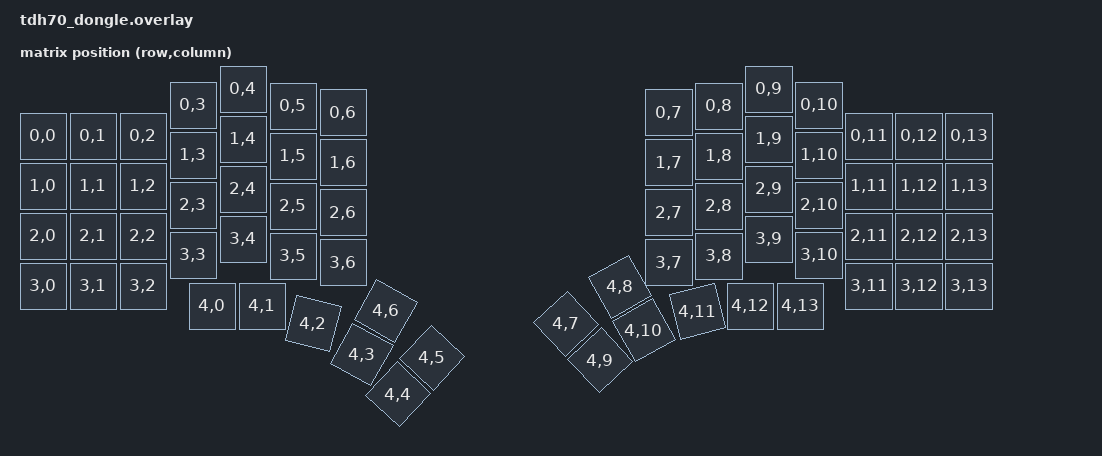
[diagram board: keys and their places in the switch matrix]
#include <dt-bindings/zmk/matrix_transform.h>
#include <physical_layouts.dtsi>

/ {
    chosen {
        zmk,kscan = &mock_kscan;
        // The dongle is the ZMK Studio endpoint (central), so it must use the
        // physical-layout scheme: a zmk,physical-layout chosen (no
        // zmk,matrix-transform chosen) with the same 70 key positions as the
        // halves, so Studio shows/edits the full split keymap.
        zmk,physical-layout = &physical_layout0;
    };

    default_transform: keymap_transform_0 {
        compatible = "zmk,matrix-transform";
        columns = <16>;
        rows = <5>;
// | SW6  | SW5  | SW4  | SW3  | SW2  | SW1  |                 | SW1  | SW2  | SW3  | SW4  | SW5  | SW6  |
// | SW12 | SW11 | SW10 | SW9  | SW8  | SW7  |                 | SW7  | SW8  | SW9  | SW10 | SW11 | SW12 |
// | SW18 | SW17 | SW16 | SW15 | SW14 | SW13 |                 | SW13 | SW14 | SW15 | SW16 | SW17 | SW18 |
// | SW24 | SW23 | SW22 | SW21 | SW20 | SW19 | SW25 |   | SW25 | SW19 | SW20 | SW21 | SW22 | SW23 | SW24 |
//               | SW30 | SW29 | SW28 | SW27 | SW26 |   | SW26 | SW27 | SW28 | SW29 | SW30 |
        map = <
RC(0,0) RC(0,1) RC(0,2) RC(0,3) RC(0,4) RC(0,5) RC(0,6)                                        RC(0,7) RC(0,8) RC(0,9)  RC(0,10) RC(0,11) RC(0,12) RC(0,13)
RC(1,0) RC(1,1) RC(1,2) RC(1,3) RC(1,4) RC(1,5) RC(1,6)                                        RC(1,7) RC(1,8) RC(1,9)  RC(1,10) RC(1,11) RC(1,12) RC(1,13)
RC(2,0) RC(2,1) RC(2,2) RC(2,3) RC(2,4) RC(2,5) RC(2,6)                                        RC(2,7) RC(2,8) RC(2,9)  RC(2,10) RC(2,11) RC(2,12) RC(2,13)
RC(3,0) RC(3,1) RC(3,2) RC(3,3) RC(3,4) RC(3,5) RC(3,6) RC(4,6) RC(4,5)        RC(4,8) RC(4,7) RC(3,7) RC(3,8) RC(3,9)  RC(3,10) RC(3,11) RC(3,12) RC(3,13)
                                RC(4,0) RC(4,1) RC(4,2) RC(4,3) RC(4,4)        RC(4,9) RC(4,10) RC(4,11) RC(4,12) RC(4,13)
        >;
    };

    physical_layout0: physical_layout0 {
        compatible = "zmk,physical-layout";
        display-name = "Default Layout";
        transform = <&default_transform>;
        keys  //                     w   h    x    y     rot    rx    ry
            = <&key_physical_attrs 100 100    0   94        0     0    94>
            , <&key_physical_attrs 100 100  100   94        0   100    94>
            , <&key_physical_attrs 100 100  200   94        0   200    94>
            , <&key_physical_attrs 100 100  300   32        0   300    32>
            , <&key_physical_attrs 100 100  400    0        0   400     0>
            , <&key_physical_attrs 100 100  500   34        0   500    34>
            , <&key_physical_attrs 100 100  600   47        0   600    47>
            , <&key_physical_attrs 100 100 1252   47        0  1252    47>
            , <&key_physical_attrs 100 100 1352   34        0  1352    34>
            , <&key_physical_attrs 100 100 1452    0        0  1452     0>
            , <&key_physical_attrs 100 100 1552   32        0  1552    32>
            , <&key_physical_attrs 100 100 1652   94        0  1652    94>
            , <&key_physical_attrs 100 100 1752   94        0  1752    94>
            , <&key_physical_attrs 100 100 1852   94        0  1852    94>
            , <&key_physical_attrs 100 100    0  194        0     0   194>
            , <&key_physical_attrs 100 100  100  194        0   100   194>
            , <&key_physical_attrs 100 100  200  194        0   200   194>
            , <&key_physical_attrs 100 100  300  132        0   300   132>
            , <&key_physical_attrs 100 100  400  100        0   400   100>
            , <&key_physical_attrs 100 100  500  134        0   500   134>
            , <&key_physical_attrs 100 100  600  147        0   600   147>
            , <&key_physical_attrs 100 100 1252  147        0  1252   147>
            , <&key_physical_attrs 100 100 1352  134        0  1352   134>
            , <&key_physical_attrs 100 100 1452  100        0  1452   100>
            , <&key_physical_attrs 100 100 1552  132        0  1552   132>
            , <&key_physical_attrs 100 100 1652  194        0  1652   194>
            , <&key_physical_attrs 100 100 1752  194        0  1752   194>
            , <&key_physical_attrs 100 100 1852  194        0  1852   194>
            , <&key_physical_attrs 100 100    0  294        0     0   294>
            , <&key_physical_attrs 100 100  100  294        0   100   294>
            , <&key_physical_attrs 100 100  200  294        0   200   294>
            , <&key_physical_attrs 100 100  300  232        0   300   232>
            , <&key_physical_attrs 100 100  400  200        0   400   200>
            , <&key_physical_attrs 100 100  500  234        0   500   234>
            , <&key_physical_attrs 100 100  600  247        0   600   247>
            , <&key_physical_attrs 100 100 1252  247        0  1252   247>
            , <&key_physical_attrs 100 100 1352  234        0  1352   234>
            , <&key_physical_attrs 100 100 1452  200        0  1452   200>
            , <&key_physical_attrs 100 100 1552  232        0  1552   232>
            , <&key_physical_attrs 100 100 1652  294        0  1652   294>
            , <&key_physical_attrs 100 100 1752  294        0  1752   294>
            , <&key_physical_attrs 100 100 1852  294        0  1852   294>
            , <&key_physical_attrs 100 100    0  394        0     0   394>
            , <&key_physical_attrs 100 100  100  394        0   100   394>
            , <&key_physical_attrs 100 100  200  394        0   200   394>
            , <&key_physical_attrs 100 100  300  332        0   300   332>
            , <&key_physical_attrs 100 100  400  300        0   400   300>
            , <&key_physical_attrs 100 100  500  334        0   500   334>
            , <&key_physical_attrs 100 100  600  347        0   600   347>
            , <&key_physical_attrs 100 100  716  426     2900   716   426>
            , <&key_physical_attrs 100 100  826  517     4300   826   517>
            , <&key_physical_attrs 100 100 1136  426  (-2900)  1136   426>
            , <&key_physical_attrs 100 100 1026  517  (-4300)  1026   517>
            , <&key_physical_attrs 100 100 1252  347        0  1252   347>
            , <&key_physical_attrs 100 100 1352  334        0  1352   334>
            , <&key_physical_attrs 100 100 1452  300        0  1452   300>
            , <&key_physical_attrs 100 100 1552  332        0  1552   332>
            , <&key_physical_attrs 100 100 1652  394        0  1652   394>
            , <&key_physical_attrs 100 100 1752  394        0  1752   394>
            , <&key_physical_attrs 100 100 1852  394        0  1852   394>
            , <&key_physical_attrs 100 100  338  434        0   338   434>
            , <&key_physical_attrs 100 100  438  434        0   438   434>
            , <&key_physical_attrs 100 100  554  458     1400   554   458>
            , <&key_physical_attrs 100 100  668  513     2900   668   513>
            , <&key_physical_attrs 100 100  758  590     4300   758   590>
            , <&key_physical_attrs 100 100 1094  590  (-4300)  1094   590>
            , <&key_physical_attrs 100 100 1184  513  (-2900)  1184   513>
            , <&key_physical_attrs 100 100 1298  458  (-1400)  1298   458>
            , <&key_physical_attrs 100 100 1414  434        0  1414   434>
            , <&key_physical_attrs 100 100 1514  434        0  1514   434>
            ;
    };

    mock_kscan: mock_kscan_0 {
        compatible = "zmk,kscan-mock";
        columns = <0>;
        rows = <0>;
        events = <0>;
    };
};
